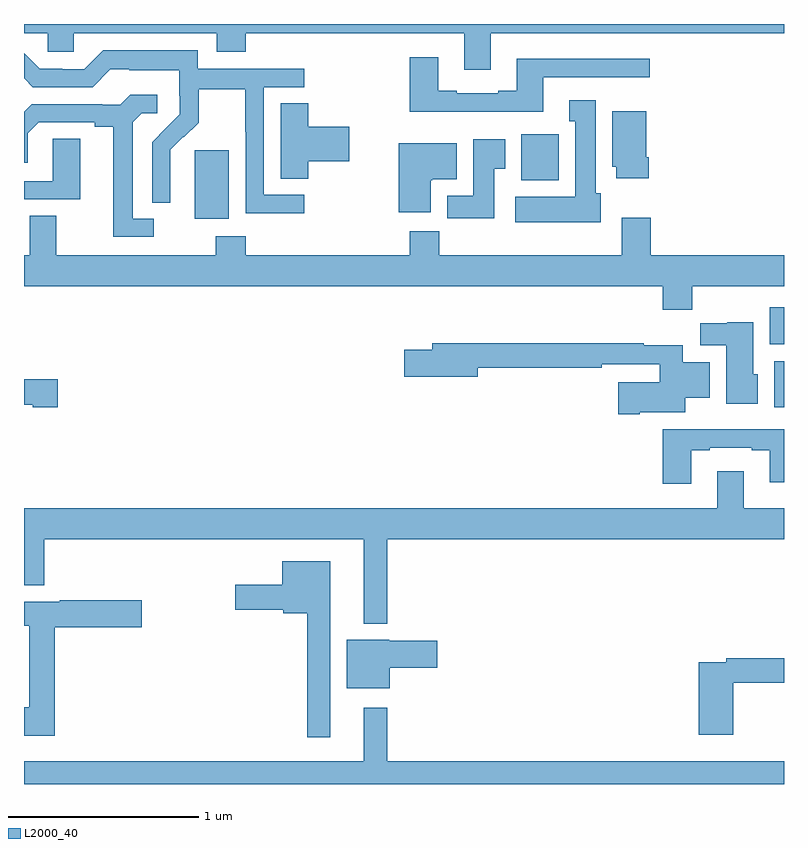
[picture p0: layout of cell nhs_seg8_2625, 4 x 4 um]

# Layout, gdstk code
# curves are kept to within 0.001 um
import gdstk
lib = gdstk.Library(unit=1e-6, precision=1e-09)
def R(c, l, rs):  # rectangles x0, y0, x1, y1
    for r in rs: c.add(gdstk.rectangle(r[:2], r[2:], *l))
def P(c, l, *ps):  # polygons
    for p in ps: c.add(gdstk.Polygon(p, *l))
L2000_40 = (2000, 40)

nhs_seg8_2625 = lib.new_cell('nhs_seg8_2625')
R(nhs_seg8_2625, L2000_40, [(280.949,1095.884,281,1096.126), (280.925,1096.214,281,1096.408), (277.898,1096.874,278.077,1097.235), (279.617,1097.078,279.814,1097.32)])
P(nhs_seg8_2625, L2000_40, [(279.457,1097.852),(281,1097.852),(281,1097.9),(277,1097.9),(277,1097.852),(277.125,1097.852),(277.125,1097.754),(277.263,1097.754),(277.263,1097.852),(278.015,1097.852),(278.015,1097.753),(278.168,1097.753),(278.168,1097.852),(279.317,1097.852),(279.317,1097.658),(279.457,1097.658)],
  [(278.476,1097.001),(278.262,1097.001),(278.262,1097.568),(278.476,1097.568),(278.476,1097.664),(277.914,1097.664),(277.914,1097.761),(277.417,1097.761),(277.317,1097.661),(277.202,1097.661),(277.202,1097.664),(277.083,1097.664),(277,1097.747),(277,1097.615),(277.047,1097.568),(277.362,1097.568),(277.455,1097.661),(277.555,1097.661),(277.555,1097.657),(277.818,1097.657),(277.818,1097.523),(277.82,1097.523),(277.82,1097.426),(277.674,1097.278),(277.674,1096.96),(277.77,1096.96),(277.769,1097.237),(277.839,1097.307),(277.842,1097.304),(277.919,1097.381),(277.919,1097.556),(278.164,1097.556),(278.164,1097.332),(278.166,1097.332),(278.166,1096.903),(278.476,1096.903)],
  [(279.733,1097.619),(280.294,1097.619),(280.294,1097.716),(279.593,1097.716),(279.593,1097.548),(279.497,1097.548),(279.497,1097.535),(279.277,1097.535),(279.277,1097.548),(279.181,1097.548),(279.181,1097.725),(279.029,1097.725),(279.029,1097.438),(279.733,1097.438)],
  [(277.684,1096.875),(277.573,1096.875),(277.573,1097.383),(277.62,1097.43),(277.702,1097.43),(277.702,1097.527),(277.558,1097.527),(277.506,1097.475),(277.412,1097.475),(277.412,1097.478),(277.04,1097.478),(277,1097.438),(277,1097.169),(277.021,1097.169),(277.021,1097.325),(277.078,1097.382),(277.373,1097.382),(277.373,1097.36),(277.469,1097.36),(277.469,1096.779),(277.684,1096.779)],
  [(280.036,1097.01),(280.009,1097.01),(280.009,1097.5),(279.869,1097.5),(279.869,1097.387),(279.902,1097.387),(279.902,1096.99),(279.585,1096.99),(279.585,1096.856),(280.036,1096.856)],
  [(278.495,1097.177),(278.713,1097.177),(278.713,1097.36),(278.495,1097.36),(278.495,1097.483),(278.351,1097.483),(278.351,1097.086),(278.495,1097.086)],
  [(280.289,1097.2),(280.276,1097.2),(280.276,1097.44),(280.097,1097.44),(280.097,1097.148),(280.118,1097.148),(280.118,1097.088),(280.289,1097.088)],
  [(277.297,1097.297),(277.152,1097.297),(277.152,1097.073),(277,1097.073),(277,1096.977),(277.297,1096.977)],
  [(279.475,1097.137),(279.532,1097.137),(279.532,1097.293),(279.365,1097.293),(279.365,1096.996),(279.227,1096.996),(279.227,1096.878),(279.475,1096.878)],
  [(279.142,1097.078),(279.148,1097.078),(279.148,1097.084),(279.277,1097.084),(279.277,1097.272),(278.972,1097.272),(278.972,1096.908),(279.142,1096.908)],
  [(280.517,1096.52),(281,1096.52),(281,1096.684),(280.298,1096.684),(280.298,1096.879),(280.145,1096.879),(280.145,1096.684),(279.185,1096.684),(279.185,1096.808),(279.029,1096.808),(279.029,1096.684),(278.168,1096.684),(278.168,1096.783),(278.008,1096.783),(278.008,1096.684),(277.171,1096.684),(277.171,1096.892),(277.031,1096.892),(277.031,1096.684),(277,1096.684),(277,1096.52),(280.361,1096.52),(280.361,1096.396),(280.517,1096.396)],
  [(280.861,1096.056),(280.837,1096.056),(280.837,1096.33),(280.701,1096.33),(280.701,1096.326),(280.558,1096.326),(280.558,1096.208),(280.697,1096.208),(280.697,1095.902),(280.861,1095.902)],
  [(280.24,1095.857),(280.48,1095.857),(280.48,1095.932),(280.609,1095.932),(280.609,1096.12),(280.468,1096.12),(280.468,1096.208),(280.262,1096.208),(280.262,1096.219),(279.149,1096.219),(279.149,1096.185),(279,1096.185),(279,1096.043),(279.388,1096.043),(279.388,1096.09),(280.04,1096.09),(280.04,1096.11),(280.346,1096.11),(280.346,1096.015),(280.128,1096.015),(280.128,1095.845),(280.24,1095.845)],
  [(277.177,1096.031),(277,1096.031),(277,1095.896),(277.047,1095.896),(277.047,1095.884),(277.177,1095.884)],
  [(280.513,1095.657),(280.609,1095.657),(280.609,1095.669),(280.829,1095.669),(280.829,1095.657),(280.925,1095.657),(280.925,1095.488),(281,1095.488),(281,1095.766),(280.361,1095.766),(280.361,1095.48),(280.513,1095.48)],
  [(278.911,1095.188),(281,1095.188),(281,1095.352),(280.789,1095.352),(280.789,1095.547),(280.649,1095.547),(280.649,1095.352),(277,1095.352),(277,1094.945),(277.106,1094.945),(277.106,1095.188),(278.789,1095.188),(278.789,1094.744),(278.911,1094.744)],
  [(278.611,1095.073),(278.36,1095.073),(278.36,1094.95),(278.112,1094.95),(278.112,1094.816),(278.364,1094.816),(278.364,1094.798),(278.49,1094.798),(278.49,1094.145),(278.611,1094.145)],
  [(277.163,1094.726),(277.621,1094.726),(277.621,1094.868),(277.189,1094.868),(277.189,1094.86),(277,1094.86),(277,1094.732),(277.028,1094.732),(277.028,1094.305),(277,1094.305),(277,1094.153),(277.163,1094.153)],
  [(278.926,1094.512),(279.175,1094.512),(279.175,1094.654),(278.922,1094.654),(278.922,1094.659),(278.699,1094.659),(278.699,1094.405),(278.926,1094.405)],
  [(280.733,1094.433),(281,1094.433),(281,1094.561),(280.696,1094.561),(280.696,1094.541),(280.55,1094.541),(280.55,1094.16),(280.733,1094.16)],
  [(281,1094.02),(278.911,1094.02),(278.911,1094.302),(278.789,1094.302),(278.789,1094.02),(277,1094.02),(277,1093.9),(281,1093.9)])

lib.write_gds('nhs_seg8_2625.gds')
